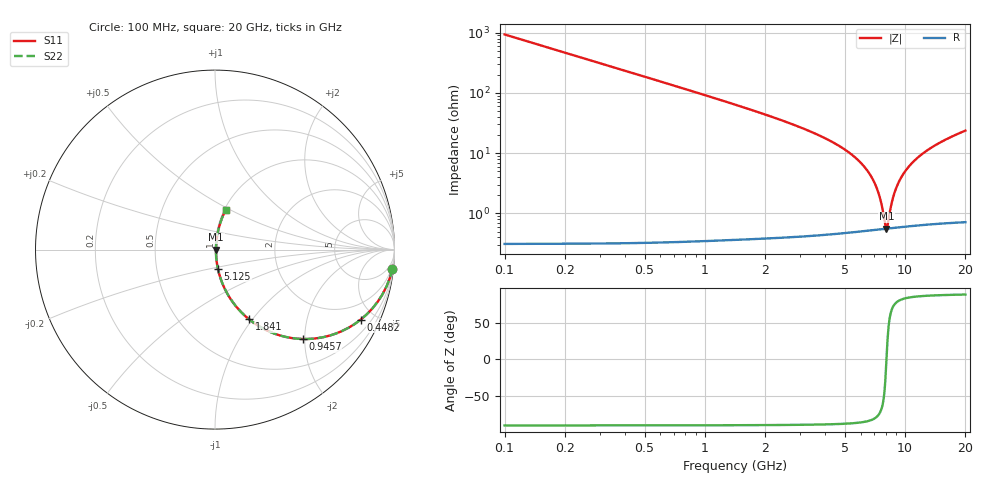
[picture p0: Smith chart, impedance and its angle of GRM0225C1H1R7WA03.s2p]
!Murata Part Number: GRM0225C1H1R7WA03
!These Parameters are Measured in Series Mode Connection
!Data Generated on Mar 30, 2021
!  o--ll--o
!Port1  Port2
!  o------o
!Operation Temp=25[degC], DC Bias Voltage=0[V]
!Freq. Start=100[MHz] Stop=20[GHz] 401[Steps]
# Hz S RI R 50
!Freq.(Hz) S11(Real) S11(Imag) S21(Real) S21(Imag) S12(Real) S12(Imag) S22(Real) S22(Imag)
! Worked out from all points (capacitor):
!   401 points, 100 MHz to 20 GHz, reference 50 ohm
!   read as one part in series: C = 1.7 pF near 199.5 MHz
!   lowest |Z| = 559 mohm at 8.06 GHz (marker M1)
!   series resonance near 8.071 GHz, so ESL is about 230 pH
!   S11 on the Smith chart (normalised r, x): 100 MHz: 1, -19; 448.2 MHz: 1.01, -4.16; 945.8 MHz: 1.01, -1.95; 1.841 GHz: 1.01, -0.96; 5.125 GHz: 1.01, -0.22; 20 GHz: 1.01, +0.47
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1e8  0.9887 -0.1056  0.0113 0.1056  0.0113 0.1056  0.9887 -0.1056
2.99e8  0.907 -0.29  0.093 0.29  0.093 0.29  0.907 -0.29
4.4825e8  0.8121 -0.3898  0.1879 0.3898  0.1879 0.3898  0.8121 -0.3898
6.97e8  0.6395 -0.4789  0.3605 0.4789  0.3605 0.4789  0.6395 -0.4789
9.4575e8  0.4878 -0.4981  0.5122 0.4981  0.5122 0.4981  0.4878 -0.4981
1.34375e9  0.3151 -0.4619  0.6849 0.4619  0.6849 0.4619  0.3151 -0.4619
1.84125e9  0.19 -0.3884  0.81 0.3884  0.81 0.3884  0.19 -0.3884
3.43325e9  0.0509 -0.2105  0.9491 0.2105  0.9491 0.2105  0.0509 -0.2105
5.12475e9  0.0162 -0.1062  0.9838 0.1062  0.9838 0.1062  0.0162 -0.1062
6.7665e9  0.00684 -0.0403  0.9932 0.0403  0.9932 0.0403  0.00684 -0.0403
7.41325e9  0.00576 -0.0194  0.9942 0.0194  0.9942 0.0194  0.00576 -0.0194
7.9605e9  0.00553 -0.00312  0.9945 0.00312  0.9945 0.00312  0.00553 -0.00312
8.06e9  0.00555 -0.000298  0.9945 0.000298  0.9945 0.000298  0.00555 -0.000298
8.1595e9  0.00558 0.00249  0.9944 -0.00249  0.9944 -0.00249  0.00558 0.00249
8.60725e9  0.00589 0.0146  0.9941 -0.0146  0.9941 -0.0146  0.00589 0.0146
8.90575e9  0.00625 0.0224  0.9937 -0.0224  0.9937 -0.0224  0.00625 0.0224
9.40325e9  0.00708 0.0348  0.9929 -0.0348  0.9929 -0.0348  0.00708 0.0348
1.005e10  0.00851 0.05  0.9915 -0.05  0.9915 -0.05  0.00851 0.05
1.1443e10  0.0128 0.0802  0.9872 -0.0802  0.9872 -0.0802  0.0128 0.0802
1.338325e10  0.0206 0.1176  0.9794 -0.1176  0.9794 -0.1176  0.0206 0.1176
1.67165e10  0.0382 0.1735  0.9618 -0.1735  0.9618 -0.1735  0.0382 0.1735
2e10  0.0592 0.2214  0.9408 -0.2214  0.9408 -0.2214  0.0592 0.2214
